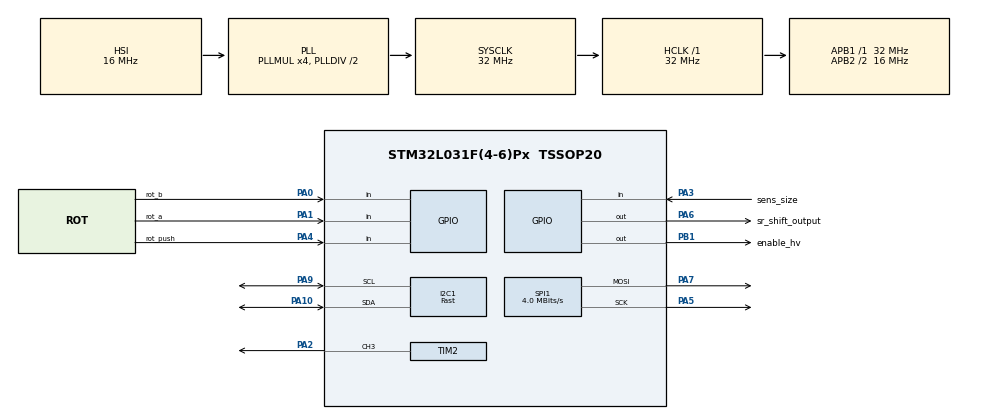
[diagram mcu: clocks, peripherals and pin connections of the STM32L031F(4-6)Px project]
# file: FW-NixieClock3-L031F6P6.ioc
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Dma.Request0=TIM2_CH3
Dma.TIM2_CH3.0.Direction=DMA_MEMORY_TO_PERIPH
Dma.TIM2_CH3.0.Instance=DMA1_Channel1
Dma.TIM2_CH3.0.MemDataAlignment=DMA_MDATAALIGN_HALFWORD
Dma.TIM2_CH3.0.MemInc=DMA_MINC_ENABLE
Dma.TIM2_CH3.0.Mode=DMA_NORMAL
Dma.TIM2_CH3.0.PeriphDataAlignment=DMA_PDATAALIGN_HALFWORD
Dma.TIM2_CH3.0.PeriphInc=DMA_PINC_DISABLE
Dma.TIM2_CH3.0.Priority=DMA_PRIORITY_MEDIUM
I2C1.I2C_Fall_Time=100
I2C1.I2C_Rise_Time=100
I2C1.I2C_Speed_Mode=I2C_Fast
I2C1.Timing=0x0060112F
Mcu.Family=STM32L0
Mcu.Name=STM32L031F(4-6)Px
Mcu.Package=TSSOP20
NVIC.DMA1_Channel1_IRQn=true\:0\:0\:false\:false\:true\:false\:true\:true
NVIC.TIM21_IRQn=true\:0\:0\:false\:false\:true\:true\:true\:true
PA0-CK_IN.GPIO_Label=rot_b
PA0-CK_IN.GPIO_PuPd=GPIO_PULLDOWN
PA0-CK_IN.Signal=GPIO_Input
PA1.GPIO_Label=rot_a
PA1.GPIO_PuPd=GPIO_PULLDOWN
PA1.Signal=GPIO_Input
PA10.Mode=I2C
PA10.Signal=I2C1_SDA
PA13.Mode=Serial_Wire
PA13.Signal=SYS_SWDIO
PA14.Mode=Serial_Wire
PA14.Signal=SYS_SWCLK
PA2.GPIO_PuPd=GPIO_PULLDOWN
PA2.GPIO_Speed=GPIO_SPEED_FREQ_HIGH
PA2.Signal=S_TIM2_CH3
PA3.GPIO_Label=sens_size
PA3.GPIO_PuPd=GPIO_PULLDOWN
PA3.Signal=GPIO_Input
PA4.GPIO_Label=rot_push
PA4.GPIO_PuPd=GPIO_PULLDOWN
PA4.Signal=GPIO_Input
PA5.Mode=TX_Only_Simplex_Unidirect_Master
PA5.Signal=SPI1_SCK
PA6.GPIO_Label=sr_shift_output
PA6.Signal=GPIO_Output
PA7.Mode=TX_Only_Simplex_Unidirect_Master
PA7.Signal=SPI1_MOSI
PA9.Mode=I2C
PA9.Signal=I2C1_SCL
PB1.GPIO_Label=enable_hv
PB1.Signal=GPIO_Output
ProjectManager.HeapSize=0x200
ProjectManager.StackSize=0x400
ProjectManager.TargetToolchain=STM32CubeIDE
RCC.AHBFreq_Value=32000000
RCC.APB1Freq_Value=32000000
RCC.APB1TimFreq_Value=32000000
RCC.APB2CLKDivider=RCC_HCLK_DIV2
RCC.APB2Freq_Value=16000000
RCC.APB2TimFreq_Value=32000000
RCC.HCLKFreq_Value=32000000
RCC.HSE_VALUE=8000000
RCC.HSI16_VALUE=16000000
RCC.HSI_VALUE=16000000
RCC.LSE_VALUE=32768
RCC.MSI_VALUE=2097000
RCC.PLLMUL=RCC_PLLMUL_4
RCC.SYSCLKFreq_VALUE=32000000
RCC.SYSCLKSource=RCC_SYSCLKSOURCE_PLLCLK
RCC.VCOOutputFreq_Value=64000000
SH.S_TIM2_CH3.0=TIM2_CH3,PWM Generation3 CH3
SPI1.BaudRatePrescaler=SPI_BAUDRATEPRESCALER_4
SPI1.CalculateBaudRate=4.0 MBits/s
SPI1.Direction=SPI_DIRECTION_2LINES
SPI1.Mode=SPI_MODE_MASTER
SPI1.VirtualType=VM_MASTER
TIM2.Channel-PWM\ Generation3\ CH3=TIM_CHANNEL_3
TIM2.OC3Preload_PWM=ENABLE
TIM2.OCFastMode_PWM-PWM\ Generation3\ CH3=TIM_OCFAST_DISABLE
TIM2.OCPolarity_3=TIM_OCPOLARITY_HIGH
TIM2.Period=40-1
TIM21.AutoReloadPreload=TIM_AUTORELOAD_PRELOAD_ENABLE
TIM21.Channel-Output\ Compare1\ No\ Output=TIM_CHANNEL_1
TIM21.OC1Preload=ENABLE
TIM21.Period=1000-1
TIM21.Prescaler=32-1
TIM21.TIM_MasterOutputTrigger=TIM_TRGO_RESET
VP_TIM21_VS_ClockSourceINT.Mode=Internal
VP_TIM21_VS_no_output1.Mode=Output Compare1 No Output
VP_TIM2_VS_ClockSourceINT.Mode=Internal
board=custom

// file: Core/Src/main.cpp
/* USER CODE BEGIN Header */
/**
  ******************************************************************************
  * @file           : main.c
  * @brief          : Main program body
  ******************************************************************************
  * @attention
  *
  * Copyright (c) 2023 STMicroelectronics.
  * All rights reserved.
  *
  * This software is licensed under terms that can be found in the LICENSE file
  * in the root directory of this software component.
  * If no LICENSE file comes with this software, it is provided AS-IS.
  *
  ******************************************************************************
  */
/* USER CODE END Header */
#include <main.hpp>
#include "dma.h"
#include "i2c.h"
#include "spi.h"
#include "tim.h"
#include "gpio.h"
#include "input_handler.hpp"
#include "settings_sm.hpp"
#include "time_handler.hpp"
#include "output_mixer.hpp"

/* USER CODE BEGIN PV */
uint8_t board_size=0;
uint8_t on_time[8][6] = {0};
uint8_t misc_setting[3] = {0};
/* USER CODE END PV */

void SystemClock_Config(void);

int main(void)
{

  /* MCU Configuration--------------------------------------------------------*/

  /* Reset of all peripherals, Initializes the Flash interface and the Systick. */
  HAL_Init();

  /* Configure the system clock */
  SystemClock_Config();

  /* Initialize all configured peripherals */
  MX_GPIO_Init();
  MX_DMA_Init();
  MX_I2C1_Init();
  MX_TIM2_Init();
  MX_TIM21_Init();
  MX_SPI1_Init();
  /* USER CODE BEGIN 2 */

  // start hardware timer for 1ms timer
  HAL_TIM_OC_Start_IT(&htim21, TIM_CHANNEL_1);

  // check the size of the board
  board_size = 4;
  if(HAL_GPIO_ReadPin(sens_size_GPIO_Port, sens_size_Pin)==true){
	  board_size = 6;
  }

  // read flash - load time zones, LED, brightness, point config
  uint32_t *RDAddr = (uint32_t *) UP_FLASH_ADDR;
  uint8_t rx8[WORDS_IN_FLASH*4];

  for(uint8_t i=0; i<WORDS_IN_FLASH; i++){
	  uint32_t rx32 = *(__IO uint32_t *)RDAddr;
	  RDAddr++;
	  rx8[i*4+0]=(uint8_t)(rx32&0xff);
	  rx8[i*4+1]=(uint8_t)(rx32 >> 8) &0xff;
	  rx8[i*4+2]=(uint8_t)(rx32 >> 16)&0xff;
	  rx8[i*4+3]=(uint8_t)(rx32 >> 24);
  }

  uint8_t index = 0;
  for(uint8_t i=0;i<8;i++){
	  for(uint8_t j=0;j<6;j++){
		  on_time[i][j] = rx8[index];
		  index++;
	  }
  }
  misc_setting[index-48] = rx8[index]; index++;	//load LED config
  misc_setting[index-48] = rx8[index]; index++;	//load brightness config
  misc_setting[index-48] = rx8[index];	//load point config

  /* USER CODE END 2 */

  /* Infinite loop */
  while (1)
  {
	  if(timeout(main_timer)){
		  main_timer = start_timer_ms(MAIN_TIMER);
		  run_time_handler();

		  run_output_mixer(run_input_handler());
		  //run all other handlers
	  }
  }
}

void SystemClock_Config(void)
{
  RCC_OscInitTypeDef RCC_OscInitStruct = {0};
  RCC_ClkInitTypeDef RCC_ClkInitStruct = {0};
  RCC_PeriphCLKInitTypeDef PeriphClkInit = {0};

  /** Configure the main internal regulator output voltage
  */
  __HAL_PWR_VOLTAGESCALING_CONFIG(PWR_REGULATOR_VOLTAGE_SCALE1);

  /** Initializes the RCC Oscillators according to the specified parameters
  * in the RCC_OscInitTypeDef structure.
  */
  RCC_OscInitStruct.OscillatorType = RCC_OSCILLATORTYPE_HSI;
  RCC_OscInitStruct.HSIState = RCC_HSI_ON;
  RCC_OscInitStruct.HSICalibrationValue = RCC_HSICALIBRATION_DEFAULT;
  RCC_OscInitStruct.PLL.PLLState = RCC_PLL_ON;
  RCC_OscInitStruct.PLL.PLLSource = RCC_PLLSOURCE_HSI;
  RCC_OscInitStruct.PLL.PLLMUL = RCC_PLLMUL_4;
  RCC_OscInitStruct.PLL.PLLDIV = RCC_PLLDIV_2;
  if (HAL_RCC_OscConfig(&RCC_OscInitStruct) != HAL_OK)
  {
    Error_Handler();
  }

  /** Initializes the CPU, AHB and APB buses clocks
  */
  RCC_ClkInitStruct.ClockType = RCC_CLOCKTYPE_HCLK|RCC_CLOCKTYPE_SYSCLK
                              |RCC_CLOCKTYPE_PCLK1|RCC_CLOCKTYPE_PCLK2;
  RCC_ClkInitStruct.SYSCLKSource = RCC_SYSCLKSOURCE_PLLCLK;
  RCC_ClkInitStruct.AHBCLKDivider = RCC_SYSCLK_DIV1;
  RCC_ClkInitStruct.APB1CLKDivider = RCC_HCLK_DIV1;
  RCC_ClkInitStruct.APB2CLKDivider = RCC_HCLK_DIV2;

  if (HAL_RCC_ClockConfig(&RCC_ClkInitStruct, FLASH_LATENCY_1) != HAL_OK)
  {
    Error_Handler();
  }
  PeriphClkInit.PeriphClockSelection = RCC_PERIPHCLK_I2C1;
  PeriphClkInit.I2c1ClockSelection = RCC_I2C1CLKSOURCE_PCLK1;
  if (HAL_RCCEx_PeriphCLKConfig(&PeriphClkInit) != HAL_OK)
  {
    Error_Handler();
  }
}

/* USER CODE BEGIN 4 */

//variables for runtime functions
/**
 * @brief: funcitons updates counter for 1ms time base - triggered by timer hardware module
 */
void counter_update_it(){
	sys_counter++;
}

/**
 * @brief function to calculate end-time of timer event
 * @param ms: amount of time, the timer should run
 * @return systemtick value, at which the timer run out
 * @usage: call function and insert return value into timeout() function, to check if timeout occured
 */
uint32_t start_timer_ms(uint32_t new_timer_value){
	return new_timer_value += sys_counter;
}

/**
 * @brief checks if the timer set by start_timer_ms for a given class is expired
 * @return if present tick counter is higher then timer value set by start_timer_ms
 * the timer is expired and the function returns true
 */
bool timeout(uint32_t end_time){
	if(end_time>sys_counter)
		return false;
	else
		return true;
}

/* USER CODE END 4 */

void Error_Handler(void)
{
  __disable_irq();
  while (1)
  {
  }
}
